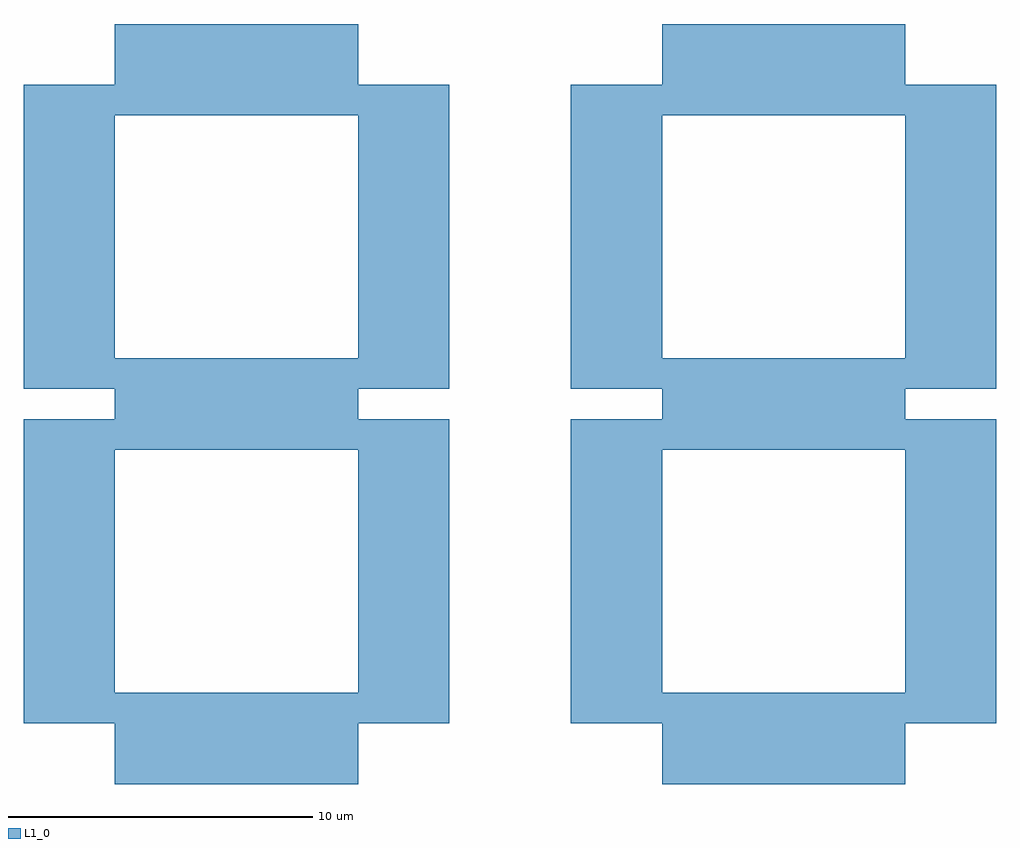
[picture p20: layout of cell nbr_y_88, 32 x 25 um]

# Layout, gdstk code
import gdstk
lib = gdstk.Library(unit=1e-6, precision=1e-09)
def R(c, l, rs):  # rectangles x0, y0, x1, y1
    for r in rs: c.add(gdstk.rectangle(r[:2], r[2:], *l))
def A(c, l, x, y, w, h, nx, ny, dx, dy):  # array of equal rectangles
    R(c, l, [(x+i*dx, y+j*dy, x+i*dx+w, y+j*dy+h) for i in range(nx) for j in range(ny)])
L1_0 = (1, 0)

nbr_y_88 = lib.new_cell('nbr_y_88')
A(nbr_y_88, L1_0, 13, 230, 8, 3, 1, 3, 0, 11)
A(nbr_y_88, L1_0, 31, 230, 8, 3, 1, 3, 0, 11)
R(nbr_y_88, L1_0, [(10,232,13,242), (21,232,24,242), (28,232,31,242), (39,232,42,242), (10,243,13,253), (21,243,24,253), (28,243,31,253), (39,243,42,253)])

lib.write_gds('nbr_y_88.gds')
